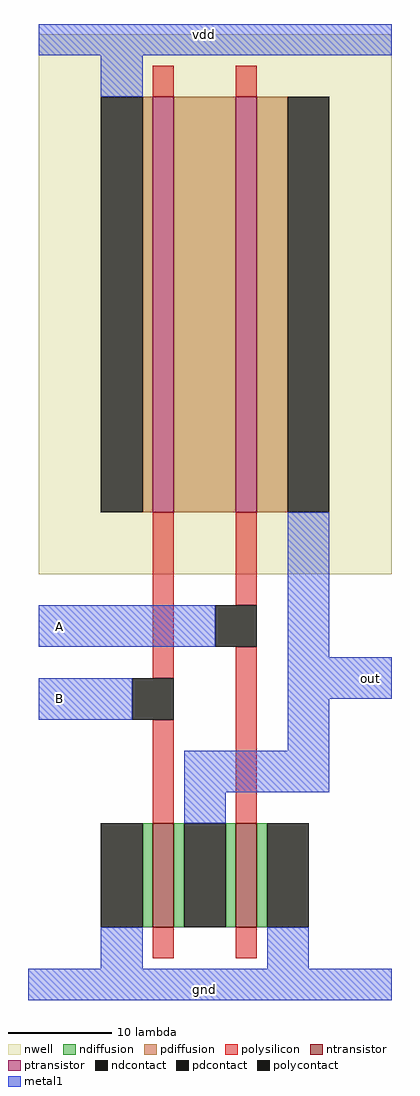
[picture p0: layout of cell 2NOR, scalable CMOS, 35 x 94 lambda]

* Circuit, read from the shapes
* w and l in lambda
.subckt 2NOR A B gnd out vdd
M1 out B gnd VSUBS nfet w=10 l=2
M2 gnd A out VSUBS nfet w=10 l=2
M3 n1 B vdd n2 pfet w=40 l=2
M4 out A n1 n2 pfet w=40 l=2
.ends

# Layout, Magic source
magic
tech scmos
<< nwell >>
rect 0 -1 34 51
<< ntransistor >>
rect 11 -35 13 -25
rect 19 -35 21 -25
<< ptransistor >>
rect 11 5 13 45
rect 19 5 21 45
<< ndiffusion >>
rect 10 -35 11 -25
rect 13 -35 14 -25
rect 18 -35 19 -25
rect 21 -35 22 -25
<< pdiffusion >>
rect 10 5 11 45
rect 13 5 19 45
rect 21 5 24 45
<< ndcontact >>
rect 6 -35 10 -25
rect 14 -35 18 -25
rect 22 -35 26 -25
<< pdcontact >>
rect 6 5 10 45
rect 24 5 28 45
<< polysilicon >>
rect 11 45 13 48
rect 19 45 21 48
rect 11 -11 13 5
rect 19 -4 21 5
rect 11 -25 13 -15
rect 19 -25 21 -8
rect 11 -38 13 -35
rect 19 -38 21 -35
<< polycontact >>
rect 17 -8 21 -4
rect 9 -15 13 -11
<< metal1 >>
rect 0 49 34 52
rect 6 45 10 49
rect 0 -8 17 -4
rect 24 -9 28 5
rect 0 -15 9 -11
rect 24 -13 34 -9
rect 24 -18 28 -13
rect 14 -22 28 -18
rect 14 -25 18 -22
rect 6 -39 10 -35
rect 22 -39 26 -35
rect -1 -42 34 -39
<< labels >>
rlabel metal1 2 -6 2 -6 3 A
rlabel metal1 2 -13 2 -13 3 B
rlabel metal1 32 -11 32 -11 7 out
rlabel metal1 16 -41 16 -41 1 gnd
rlabel metal1 16 51 16 51 5 vdd
<< end >>
